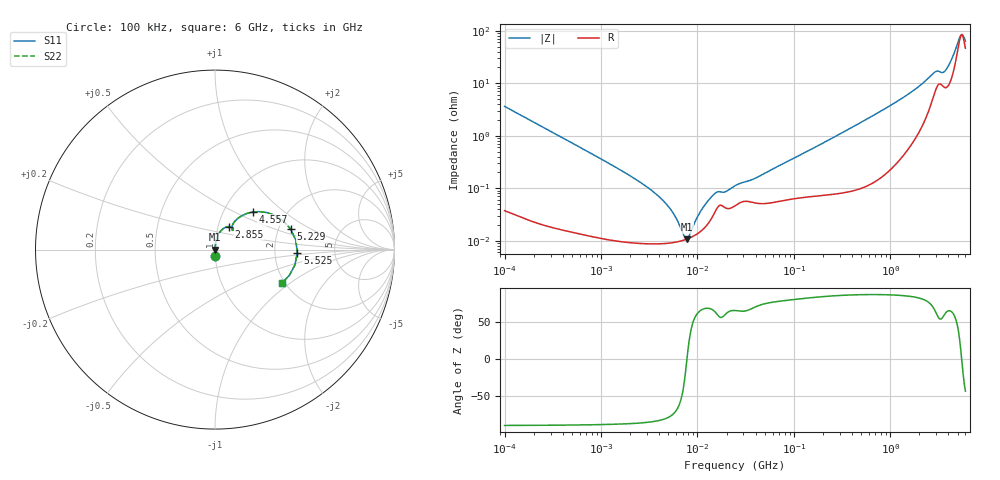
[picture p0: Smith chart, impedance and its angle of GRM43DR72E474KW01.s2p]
!Murata Part Number: GRM43DR72E474KW01
!These Parameters are Measured in Series Mode Connection
!Data Generated on Mar 30, 2021
!  o--ll--o
!Port1  Port2
!  o------o
!Operation Temp=25[degC], DC Bias Voltage=0[V]
!Freq. Start=100[kHz] Stop=6[GHz] 401[Steps]
# Hz S RI R 50
!Freq.(Hz) S11(Real) S11(Imag) S21(Real) S21(Imag) S12(Real) S12(Imag) S22(Real) S22(Imag)
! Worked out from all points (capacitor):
!   401 points, 100 kHz to 6 GHz, reference 50 ohm
!   read as one part in series: C = 438 nF near 105.7 kHz
!   lowest |Z| = 10.8 mohm at 7.716 MHz (marker M1)
!   series resonance near 7.776 MHz, so ESL is about 960 pH
!   S11 on the Smith chart (normalised r, x): 100 kHz: 1.00, -0.07; 2.855 GHz: 1.12, +0.29; 4.557 GHz: 1.36, +0.63; 5.229 GHz: 2.33, +0.66; 5.525 GHz: 2.69, -0.12; 6 GHz: 1.93, -0.87
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100000  0.00169 -0.0362  0.9983 0.0362  0.9983 0.0362  0.00169 -0.0362
631452  0.000166 -0.00577  0.9998 0.00577  0.9998 0.00577  0.000166 -0.00577
2118054  9.39e-05 -0.00162  0.9999 0.00162  0.9999 0.00162  9.39e-05 -0.00162
3987316  8.81e-05 -0.00069  0.9999 0.00069  0.9999 0.00069  8.81e-05 -0.00069
5396098  9.17e-05 -0.000361  0.9999 0.000361  0.9999 0.000361  9.17e-05 -0.000361
7302625  0.000104 -6.12e-05  0.9999 6.12e-05  0.9999 6.12e-05  0.000104 -6.12e-05
7715601  0.000107 -7.5e-06  0.9999 7.5e-06  0.9999 7.5e-06  0.000107 -7.5e-06
8151931  0.000112 4.64e-05  0.9999 -4.64e-05  0.9999 -4.64e-05  0.000112 4.64e-05
1.073283e7  0.00015 0.000328  0.9998 -0.000328  0.9998 -0.000328  0.00015 0.000328
1.413084e7  0.000276 0.000648  0.9997 -0.000648  0.9997 -0.000648  0.000276 0.000648
2.517799e7  0.00048 0.00104  0.9995 -0.00104  0.9995 -0.00104  0.00048 0.00104
4.018763e7  0.000526 0.00148  0.9995 -0.00148  0.9995 -0.00148  0.000526 0.00148
1.546735e8  0.000729 0.00561  0.9993 -0.00561  0.9993 -0.00561  0.000729 0.00561
9.76689e8  0.00349 0.0364  0.9965 -0.0364  0.9965 -0.0364  0.00349 0.0364
2.052492e9  0.0209 0.088  0.9791 -0.088  0.9791 -0.088  0.0209 0.088
2.855131e9  0.0764 0.1282  0.9236 -0.1282  0.9236 -0.1282  0.0764 0.1282
3.65708e9  0.093 0.1223  0.907 -0.1223  0.907 -0.1223  0.093 0.1223
4.557193e9  0.2094 0.2092  0.7906 -0.2092  0.7906 -0.2092  0.2094 0.2092
4.949184e9  0.3332 0.191  0.6668 -0.191  0.6668 -0.191  0.3332 0.191
5.229069e9  0.4216 0.1142  0.5784 -0.1142  0.5784 -0.1142  0.4216 0.1142
5.524782e9  0.4587 -0.0169  0.5413 0.0169  0.5413 0.0169  0.4587 -0.0169
6e9  0.3721 -0.1867  0.6279 0.1867  0.6279 0.1867  0.3721 -0.1867
